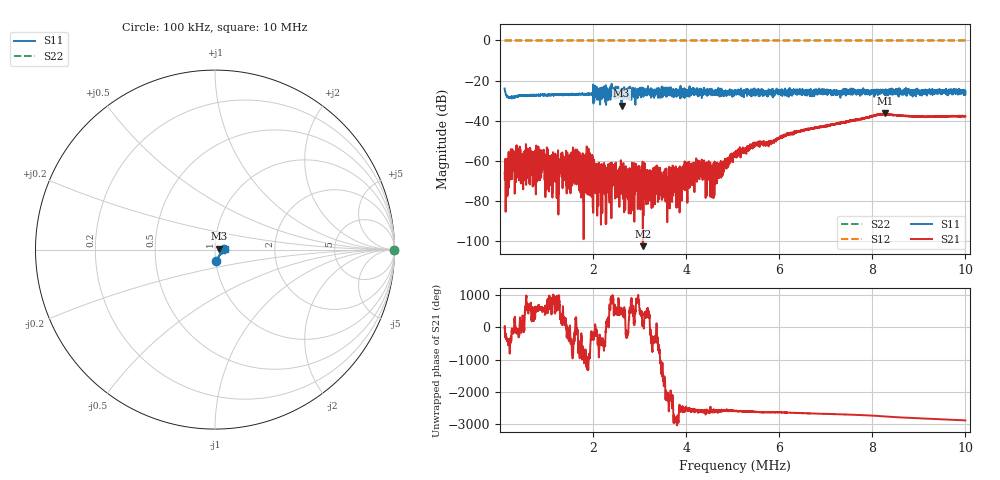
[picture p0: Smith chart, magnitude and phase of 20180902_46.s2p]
! Anritsu VNA Master:  Model: MS2026C/19
! SN:  1815009
! /card0/usr/20180902_46.s2p
! Existing Calibration Information:
! TYPE:  Current Settings,  Active Cal Settings
! TIME:  09/03/2018 12:18:42 AM,  09/02/2018 11:58:48 AM
! INTERNAL TEMP:  50.5 C,  48.8 C
! # POINTS:  4001,  4001
! START FREQ:  100.000 kHz,  100.000 kHz
! STOP FREQ:  10.000 MHz,  10.000 MHz
! SOURCE POWER:  Low,  Low
! IFBW:  500 Hz,  500 Hz
! AVG FACTOR:  1 ,  1
! REF PLANE 1:  0 mm,  0 mm
! REF PLANE 2:  0 mm,  0 mm
! CAL TYPE:  1P2P S11,S21,  1P2P S11,S21
! CAL METHOD:  SOLT,  SOLT
! CAL LINE TYPE:  Coax,  Coax
! DUT PORT 1:  N-Conn(M),  N-Conn(M)
! DUT PORT 2:  N-Conn(M),  N-Conn(M)
! CAL STATUS:  OK: Accuracy High,  --
# GHZ S RI R 50.0
! FREQ.GHZ  S11RE  S11IM  S21RE  S21IM  S12RE  S12IM  S22RE  S22IM
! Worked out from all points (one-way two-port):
!   4001 points, 100 kHz to 10 MHz, reference 50 ohm
!   highest |S21| = -36.29 dB at 8.268 MHz (marker M1); lowest = -102.3 dB at 3.07 MHz (marker M2)
!   lowest |S11| = -32.4 dB at 2.612 MHz (marker M3), VSWR 1.05, Z = 52.4 + j0.461 ohm
!   |S11| at or under -10 dB: start of sweep to end of sweep
!   |S22| runs from 0.0 to 0.0 dB; largest |S21 - S12| = 1
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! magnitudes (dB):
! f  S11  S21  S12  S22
! 100 kHz  -23.9  -65.7  0.0  0.0
! 263.4 kHz  -27.9  -54.1  0.0  0.0
! 478.7 kHz  -27.3  -61.0  0.0  0.0
! 825.2 kHz  -27.2  -52.8  0.0  0.0
! 1.006 MHz  -27.3  -64.1  0.0  0.0
! 1.536 MHz  -26.8  -63.3  0.0  0.0
! 1.751 MHz  -26.8  -62.5  0.0  0.0
! 1.934 MHz  -26.9  -56.1  0.0  0.0
! 2.1 MHz  -24.8  -65.6  0.0  0.0
! 2.318 MHz  -27.7  -67.0  0.0  0.0
! 2.417 MHz  -27.4  -65.8  0.0  0.0
! 2.612 MHz  -32.4  -69.8  0.0  0.0
! 3.07 MHz  -24.7  -102.3  0.0  0.0
! 3.402 MHz  -27.5  -63.2  0.0  0.0
! 3.822 MHz  -25.8  -67.1  0.0  0.0
! 4.231 MHz  -24.5  -59.9  0.0  0.0
! 4.602 MHz  -25.4  -66.0  0.0  0.0
! 5.05 MHz  -26.3  -56.0  0.0  0.0
! 6.701 MHz  -27.0  -43.7  0.0  0.0
! 8.268 MHz  -25.8  -36.3  0.0  0.0
! 8.352 MHz  -26.7  -36.7  0.0  0.0
! 10 MHz  -25.3  -37.8  0.0  0.0
